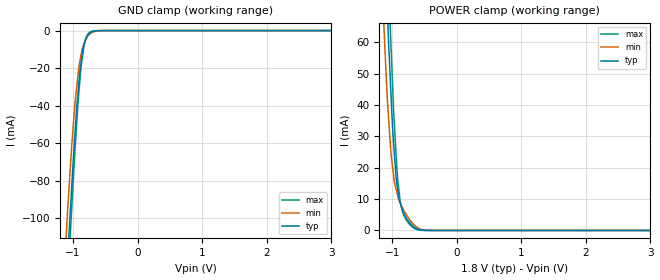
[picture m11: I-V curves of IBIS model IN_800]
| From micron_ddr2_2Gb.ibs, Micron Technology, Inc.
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|   MODEL IN_800
[Model]   IN_800
Model_type   Input
Vinl = 700.000mV
Vinh = 1.100V
|   typ   min   max
C_comp   1.379pF   1.179pF   1.580pF
[Model Spec]
| Input threshold voltage corners
Vinl   0.700V   0.650V   0.750V
Vinh   1.100V   1.050V   1.150V
[Receiver Thresholds]
Vth   =  0.900V
Vth_min  =  0.882V
Vth_max  =  0.918V
Vinh_ac  =  0.200V
Vinh_dc  =  0.125V
Vinl_ac  = -0.200V
Vinl_dc  = -0.125V
Tslew_ac =  5.000ns |Not specified, so set to high value
Threshold_sensitivity = 0.50
Reference_supply Pullup_ref
[Voltage Range]   1.800V   1.700V   1.900V
[Pullup Reference]   1.800V   1.700V   1.900V
| Junction Temperature (Ambient temp is 25C typ, 85C min, 0C max)
[Temperature Range]   40.0   100.0   0.0
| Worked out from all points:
|   GND clamp passes 1 mA (typ) near -0.73 V on its own axis
|   POWER clamp passes 1 mA (typ) near -0.66 V on its own axis
[GND Clamp]
|   Voltage   I(typ)   I(min)   I(max)
-1.8V     -643.4mA   -597.2mA   -668.7mA
-1.11V    -139mA     -111.6mA   -153.6mA
-1.06V    -106.4mA   -82.5mA    -119.9mA
-1.04V    -94.39mA   -71.72mA   -106.7mA
-970mV    -54.71mA   -38.62mA   -63.63mA
-940mV    -39.49mA   -28.77mA   -47.53mA
-910mV    -27.82mA   -19.3mA    -32.91mA
-880mV    -17.93mA   -13.71mA   -20.6mA
-820mV    -6.427mA   -6.07mA    -6.213mA
-740mV    -1.283mA   -1.889mA   -820.9uA
-520mV    -4.038uA   -21.21uA   -37.52nA
3.6V      0A         0A         0A
[POWER Clamp]
|   Voltage   I(typ)   I(min)   I(max)
-1.8V     570.2mA    510.4mA    604.5mA
-1.13V    100.6mA    65.56mA    124mA
-1.07V    67.15mA    39.77mA    87.01mA
-1.06V    61.57mA    36.7mA     80.99mA
-1.03V    48mA       27.51mA    64.33mA
-990mV    30.82mA    19.4mA     43.95mA
-940mV    16.71mA    13.13mA    24mA
-920mV    13.83mA    11.39mA    17.23mA
-880mV    8.934mA    8.993mA    9.83mA
-820mV    5.418mA    6.395mA    4.805mA
-650mV    928.2uA    1.576mA    562.5uA
3.6V      0A         0A         0A
